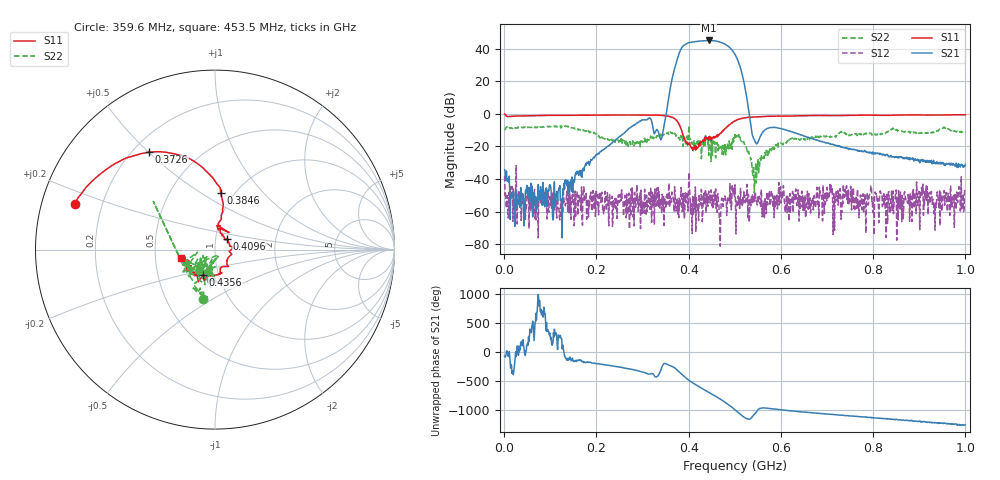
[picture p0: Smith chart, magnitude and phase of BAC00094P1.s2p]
!measured: 2026-10-29T10:47:54
!cal_instance: BB
!cal_created: 2026-10-29T10:46
!cal_file: SOLT_12_1_00M-1_00G_1001pt.cal
!port1_delay_ps: -60.57
!port2_delay_ps: -58.11
!host: lindon
! Created with skrf 2.1.0 (http://scikit-rf.org).
# Hz S RI R 50.0
!freq ReS11 ImS11 ReS21 ImS21 ReS12 ImS12 ReS22 ImS22
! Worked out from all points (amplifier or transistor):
!   1001 points, 1 MHz to 1 GHz, reference 50 ohm
!   highest |S21| = 45.0 dB at 443.6 MHz (marker M1)
!   |S21| within 3 dB of that: 389.9 MHz to 482.8 MHz (92.86 MHz wide, 21.3 % of centre)
!   unconditionally stable (mu >= 1): start of sweep to 399.9 MHz; 458.5 MHz to 489.3 MHz; 500.6 MHz to end of sweep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
!   at 166.8 MHz: K = 3577.27, MAG = -30.4 dB, |S12| = -54.6 dB
!   at 500.5 MHz: K = 0.94, MSG = 40.0 dB, |S12| = -43.6 dB
!   at 1 GHz: K = 431.36, MAG = -21.9 dB, |S12| = -46.0 dB
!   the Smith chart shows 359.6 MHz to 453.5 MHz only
!   S11 on the Smith chart (normalised r, x): 359.6 MHz: 0.10, +0.16; 372.6 MHz: 0.26, +0.50; 384.6 MHz: 0.87, +0.61; 409.6 MHz: 1.14, +0.14; 435.6 MHz: 0.84, -0.24; 453.5 MHz: 0.68, -0.07
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1000000  -0.4131 0.889  0.00465 -0.0187  -0.0064 -0.0107  0.347 -0.0587
1.67833e8  0.4814 -0.7655  -0.0173 -0.00365  0.00515 0.00238  -0.0249 -0.3143
3.34666e8  -0.8342 -0.358  0.1992 -0.1878  -0.000433 -0.00129  0.0163 -0.2085
3.59641e8  -0.7796 0.2568  -2.91 4.771  0.0014 -0.00264  -0.0647 -0.2726
3.72628e8  -0.3672 0.5433  16.03 30.9  -0.000983 -0.000307  -0.1004 -0.1784
3.84616e8  0.0321 0.3139  94.37 -45.38  -0.00077 -0.0024  -0.1239 -0.1211
3.91609e8  0.0273 0.1587  31.23 -127.4  0.000867 0.000194  -0.1426 -0.0682
3.96604e8  0.01 0.134  -49.05 -135.3  0.00251 -0.00304  -0.1439 -0.1507
4.03597e8  0.029 0.1046  -135.8 -77.75  0.00165 -0.000446  -0.132 -0.0989
4.09591e8  0.0685 0.0602  -160.9 4.309  0.000886 -0.00178  -0.0564 -0.0465
4.23577e8  0.0422 -0.0946  -61.04 159.2  -0.00124 0.00167  -0.0713 -0.1334
4.35565e8  -0.0658 -0.1413  96.72 146.3  -0.00132 0.00176  -0.0498 -0.0854
4.43557e8  -0.1331 -0.0884  167.2 63.22  -0.00415 -0.000906  -0.0417 -0.0319
4.53547e8  -0.1907 -0.0491  158.9 -75.67  0.00187 -0.000409  -0.0903 -0.1153
4.66534e8  -0.2295 0.0565  4.51 -162.3  0.000369 0.000486  -0.0268 -0.081
4.79521e8  -0.2077 0.2936  -123.5 -55.11  0.00238 0.000974  0.0318 -0.1074
4.9051e8  -0.00681 0.4846  -79.8 65.34  -0.00172 0.00054  -0.017 -0.0923
5.005e8  0.2913 0.5424  15.49 65.05  -0.000233 0.00664  -0.1938 -0.1701
5.17483e8  0.6806 0.28  10.7 -8.075  0.00205 -0.0017  -0.1409 -0.0158
6.67333e8  -0.0389 -0.8873  0.1599 0.0722  0.000955 0.00157  0.0413 -0.1715
8.34166e8  -0.6596 -0.6109  0.00804 -0.0489  -0.0041 0.000123  -0.156 -0.2786
1e9  -0.9147 -0.1778  -0.0281 0.00247  -0.00273 0.0042  -0.2192 -0.1614
